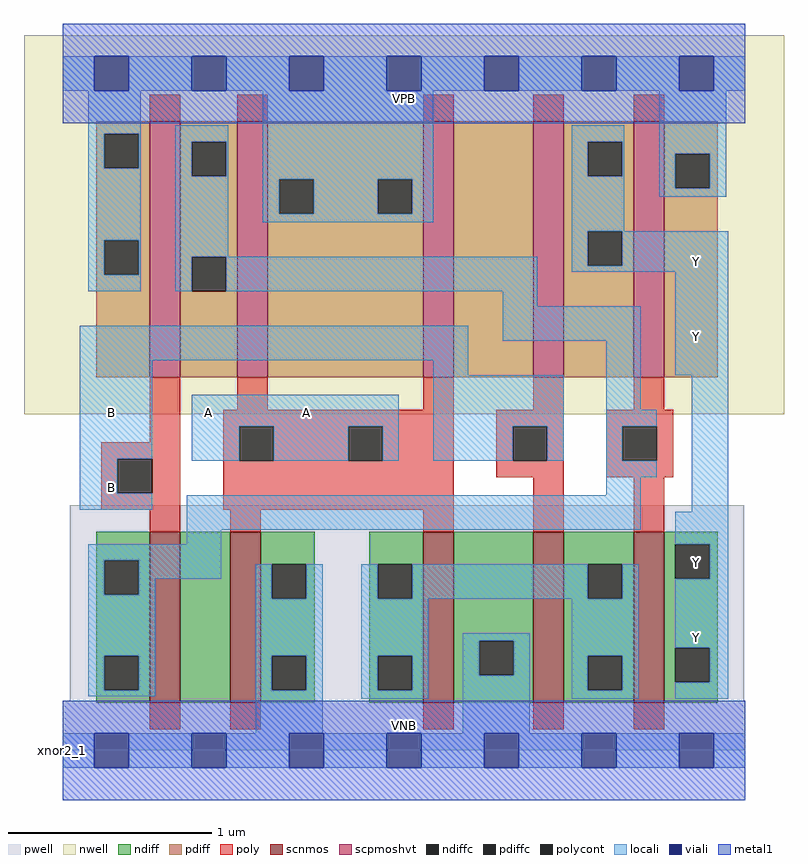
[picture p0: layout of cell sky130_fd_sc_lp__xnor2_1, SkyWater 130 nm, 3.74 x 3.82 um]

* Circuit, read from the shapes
.subckt sky130_fd_sc_lp__xnor2_1 A B VGND VNB VPB VPWR Y
XM1 n1 B n2 VNB sky130_fd_pr__nfet_01v8 w=0.84 l=0.15
XM2 VGND A n1 VNB sky130_fd_pr__nfet_01v8 w=0.84 l=0.15
XM3 VGND A n3 VNB sky130_fd_pr__nfet_01v8 w=0.84 l=0.15
XM4 n3 B VGND VNB sky130_fd_pr__nfet_01v8 w=0.84 l=0.15
XM5 Y n2 n3 VNB sky130_fd_pr__nfet_01v8 w=0.84 l=0.15
XM6 n2 B VPWR VPB sky130_fd_pr__pfet_01v8_hvt w=1.26 l=0.15
XM7 VPWR A n2 VPB sky130_fd_pr__pfet_01v8_hvt w=1.26 l=0.15
XM8 n4 A VPWR VPB sky130_fd_pr__pfet_01v8_hvt w=1.26 l=0.15
XM9 Y B n4 VPB sky130_fd_pr__pfet_01v8_hvt w=1.26 l=0.15
XM10 VPWR n2 Y VPB sky130_fd_pr__pfet_01v8_hvt w=1.26 l=0.15
.ends

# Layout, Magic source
magic
tech sky130A
magscale 1 2
<< nwell >>
rect -38 331 710 704
<< pwell >>
rect 7 49 671 241
rect 0 0 672 49
<< scnmos >>
rect 86 47 116 215
rect 165 47 195 215
rect 355 47 385 215
rect 463 47 493 215
rect 562 47 592 215
<< scpmoshvt >>
rect 86 367 116 619
rect 172 367 202 619
rect 355 367 385 619
rect 463 367 493 619
rect 562 367 592 619
<< ndiff >>
rect 33 187 86 215
rect 33 153 41 187
rect 75 153 86 187
rect 33 93 86 153
rect 33 59 41 93
rect 75 59 86 93
rect 33 47 86 59
rect 116 47 165 215
rect 195 183 248 215
rect 195 149 206 183
rect 240 149 248 183
rect 195 93 248 149
rect 195 59 206 93
rect 240 59 248 93
rect 195 47 248 59
rect 302 183 355 215
rect 302 149 310 183
rect 344 149 355 183
rect 302 93 355 149
rect 302 59 310 93
rect 344 59 355 93
rect 302 47 355 59
rect 385 108 463 215
rect 385 74 410 108
rect 444 74 463 108
rect 385 47 463 74
rect 493 183 562 215
rect 493 149 517 183
rect 551 149 562 183
rect 493 93 562 149
rect 493 59 517 93
rect 551 59 562 93
rect 493 47 562 59
rect 592 203 645 215
rect 592 169 603 203
rect 637 169 645 203
rect 592 101 645 169
rect 592 67 603 101
rect 637 67 645 101
rect 592 47 645 67
<< pdiff >>
rect 33 607 86 619
rect 33 573 41 607
rect 75 573 86 607
rect 33 502 86 573
rect 33 468 41 502
rect 75 468 86 502
rect 33 367 86 468
rect 116 599 172 619
rect 116 565 127 599
rect 161 565 172 599
rect 116 486 172 565
rect 116 452 127 486
rect 161 452 172 486
rect 116 367 172 452
rect 202 562 355 619
rect 202 528 213 562
rect 247 528 310 562
rect 344 528 355 562
rect 202 367 355 528
rect 385 367 463 619
rect 493 599 562 619
rect 493 565 517 599
rect 551 565 562 599
rect 493 511 562 565
rect 493 477 517 511
rect 551 477 562 511
rect 493 367 562 477
rect 592 587 645 619
rect 592 553 603 587
rect 637 553 645 587
rect 592 367 645 553
<< ndiffc >>
rect 41 153 75 187
rect 41 59 75 93
rect 206 149 240 183
rect 206 59 240 93
rect 310 149 344 183
rect 310 59 344 93
rect 410 74 444 108
rect 517 149 551 183
rect 517 59 551 93
rect 603 169 637 203
rect 603 67 637 101
<< pdiffc >>
rect 41 573 75 607
rect 41 468 75 502
rect 127 565 161 599
rect 127 452 161 486
rect 213 528 247 562
rect 310 528 344 562
rect 517 565 551 599
rect 517 477 551 511
rect 603 553 637 587
<< poly >>
rect 86 619 116 645
rect 172 619 202 645
rect 355 619 385 645
rect 463 619 493 645
rect 562 619 592 645
rect 86 303 116 367
rect 172 335 202 367
rect 355 335 385 367
rect 463 335 493 367
rect 562 335 592 367
rect 38 287 116 303
rect 38 253 54 287
rect 88 253 116 287
rect 38 237 116 253
rect 158 319 385 335
rect 158 285 174 319
rect 208 285 281 319
rect 315 285 385 319
rect 158 237 385 285
rect 427 319 493 335
rect 427 285 443 319
rect 477 285 493 319
rect 427 269 493 285
rect 535 319 601 335
rect 535 285 551 319
rect 585 285 601 319
rect 535 269 601 285
rect 86 215 116 237
rect 165 215 195 237
rect 355 215 385 237
rect 463 215 493 269
rect 562 215 592 269
rect 86 21 116 47
rect 165 21 195 47
rect 355 21 385 47
rect 463 21 493 47
rect 562 21 592 47
<< polycont >>
rect 54 253 88 287
rect 174 285 208 319
rect 281 285 315 319
rect 443 285 477 319
rect 551 285 585 319
<< locali >>
rect 0 649 31 683
rect 65 649 127 683
rect 161 649 223 683
rect 257 649 319 683
rect 353 649 415 683
rect 449 649 511 683
rect 545 649 607 683
rect 641 649 672 683
rect 25 607 77 649
rect 25 573 41 607
rect 75 573 77 607
rect 25 502 77 573
rect 25 468 41 502
rect 75 468 77 502
rect 25 452 77 468
rect 111 599 163 615
rect 111 565 127 599
rect 161 565 163 599
rect 111 486 163 565
rect 197 562 365 649
rect 197 528 213 562
rect 247 528 310 562
rect 344 528 365 562
rect 197 520 365 528
rect 501 599 553 615
rect 501 565 517 599
rect 551 565 553 599
rect 501 511 553 565
rect 587 587 653 649
rect 587 553 603 587
rect 637 553 653 587
rect 587 545 653 553
rect 111 452 127 486
rect 161 452 467 486
rect 501 477 517 511
rect 551 477 655 511
rect 501 471 655 477
rect 433 437 467 452
rect 17 384 399 418
rect 433 403 569 437
rect 17 287 88 384
rect 365 369 399 384
rect 17 253 54 287
rect 127 319 331 350
rect 127 285 174 319
rect 208 285 281 319
rect 315 285 331 319
rect 365 319 493 369
rect 365 285 443 319
rect 477 285 493 319
rect 535 335 569 403
rect 603 369 655 471
rect 535 319 585 335
rect 535 285 551 319
rect 17 237 88 253
rect 535 269 585 285
rect 535 251 569 269
rect 122 217 569 251
rect 619 235 655 369
rect 122 203 156 217
rect 25 187 156 203
rect 25 153 41 187
rect 75 169 156 187
rect 603 203 655 235
rect 75 153 91 169
rect 25 93 91 153
rect 25 59 41 93
rect 75 59 91 93
rect 25 53 91 59
rect 190 149 206 183
rect 240 149 256 183
rect 190 93 256 149
rect 190 59 206 93
rect 240 59 256 93
rect 190 17 256 59
rect 294 149 310 183
rect 344 149 517 183
rect 551 149 567 183
rect 294 93 360 149
rect 294 59 310 93
rect 344 59 360 93
rect 294 51 360 59
rect 394 108 460 115
rect 394 74 410 108
rect 444 74 460 108
rect 394 17 460 74
rect 501 93 567 149
rect 501 59 517 93
rect 551 59 567 93
rect 501 51 567 59
rect 637 169 655 203
rect 603 101 655 169
rect 637 67 655 101
rect 603 51 655 67
rect 0 -17 31 17
rect 65 -17 127 17
rect 161 -17 223 17
rect 257 -17 319 17
rect 353 -17 415 17
rect 449 -17 511 17
rect 545 -17 607 17
rect 641 -17 672 17
<< viali >>
rect 31 649 65 683
rect 127 649 161 683
rect 223 649 257 683
rect 319 649 353 683
rect 415 649 449 683
rect 511 649 545 683
rect 607 649 641 683
rect 31 -17 65 17
rect 127 -17 161 17
rect 223 -17 257 17
rect 319 -17 353 17
rect 415 -17 449 17
rect 511 -17 545 17
rect 607 -17 641 17
<< metal1 >>
rect 0 683 672 715
rect 0 649 31 683
rect 65 649 127 683
rect 161 649 223 683
rect 257 649 319 683
rect 353 649 415 683
rect 449 649 511 683
rect 545 649 607 683
rect 641 649 672 683
rect 0 617 672 649
rect 0 17 672 49
rect 0 -17 31 17
rect 65 -17 127 17
rect 161 -17 223 17
rect 257 -17 319 17
rect 353 -17 415 17
rect 449 -17 511 17
rect 545 -17 607 17
rect 641 -17 672 17
rect 0 -49 672 -17
<< labels >>
flabel pwell s 0 0 672 49 0 FreeSans 200 0 0 0 VNB
port 4 nsew ground bidirectional
flabel nwell s 0 617 672 666 0 FreeSans 200 0 0 0 VPB
port 5 nsew power bidirectional
rlabel comment s 0 0 0 0 4 xnor2_1
flabel metal1 s 0 617 672 666 0 FreeSans 340 0 0 0 VPWR
port 6 nsew power bidirectional
flabel metal1 s 0 0 672 49 0 FreeSans 340 0 0 0 VGND
port 3 nsew ground bidirectional
flabel locali s 607 94 641 128 0 FreeSans 340 0 0 0 Y
port 7 nsew signal output
flabel locali s 607 168 641 202 0 FreeSans 340 0 0 0 Y
port 7 nsew signal output
flabel locali s 607 390 641 424 0 FreeSans 340 0 0 0 Y
port 7 nsew signal output
flabel locali s 607 464 641 498 0 FreeSans 340 0 0 0 Y
port 7 nsew signal output
flabel locali s 127 316 161 350 0 FreeSans 200 0 0 0 A
port 1 nsew signal input
flabel locali s 31 242 65 276 0 FreeSans 200 0 0 0 B
port 2 nsew signal input
flabel locali s 223 316 257 350 0 FreeSans 200 0 0 0 A
port 1 nsew signal input
flabel locali s 31 316 65 350 0 FreeSans 200 0 0 0 B
port 2 nsew signal input
<< properties >>
string LEFsite unit
string LEFclass CORE
string FIXED_BBOX 0 0 672 666
string GDS_FILE $PDKPATH/libs.ref/sky130_fd_sc_lp/gds/sky130_fd_sc_lp.gds
string LEFsymmetry X Y R90
string GDS_END 4292220
string GDS_START 4285934
<< end >>
